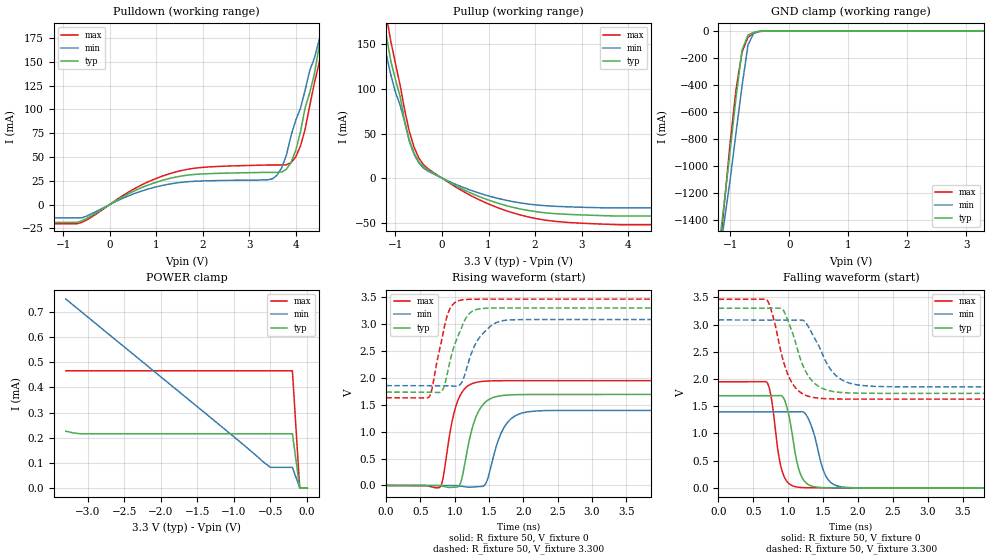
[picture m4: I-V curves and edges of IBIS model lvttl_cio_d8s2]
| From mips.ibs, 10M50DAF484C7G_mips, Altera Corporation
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|MODEL lvttl_cio_d8s2
[Model]   lvttl_cio_d8s2
Model_type   I/O
Polarity   Non-Inverting
Enable Active-Low
Vinl   = 0.800
Vinh   = 1.700
Vmeas  = 1.650
Rref   = 10M
Cref   = 0pF
Vref   = 0.000
C_comp 4.5pF   4.5pF   4.5pF
[Model Spec]
Vinh   1.700   1.700   1.700
Vinl   0.800   0.800   0.800
[Temperature Range]   25   85   0
[Voltage Range]   3.300   3.085   3.465
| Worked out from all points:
|   slope of the pulldown table from 0 to 0.495 V, typ, clamps not added: 36.4 ohm
|   slope of the pullup table from 0 to 0.495 V, typ, clamps not added: 35.8 ohm
|   GND clamp passes 1 mA (typ) near -0.44 V on its own axis
|   rising waveform, R_fixture 50, V_fixture 0: 20-80 % time 200ps typ, 225ps min, 178ps max; typ from 0 V to 1.69 V
|   falling waveform, R_fixture 50, V_fixture 0: 20-80 % time 146ps typ, 178ps min, 126ps max; typ from 1.69 V to 0 V
|   rising waveform, R_fixture 50, V_fixture 3.300: 20-80 % time 229ps typ, 265ps min, 178ps max; typ from 1.74 V to 3.3 V
|   falling waveform, R_fixture 50, V_fixture 3.300: 20-80 % time 271ps typ, 314ps min, 232ps max; typ from 3.3 V to 1.74 V
[GND Clamp]
| voltage   I (typ)   I (min)   I (max)
-3.3V     -8.634A    -7.734A    -10.13A
-1.2V     -1.626A    -1.688A    -1.731A
-1.1V     -1.26A     -1.403A    -1.274A
-1V       -875.9mA   -1.092A    -816.4mA
-900mV    -483.9mA   -744.2mA   -425.4mA
-800mV    -141.1mA   -407.2mA   -157mA
-700mV    -32.06mA   -104.2mA   -47.74mA
-600mV    -10.6mA    -15.57mA   -17.79mA
-500mV    -2.181mA   -3.118mA   -5.472mA
-400mV    -180.7uA   -399.8uA   -1.032mA
3.3V      0A         0A         0A
[Pulldown]
| voltage   I (typ)   I (min)   I (max)
-3.3V     -18.72mA   -13.96mA   -20.14mA
-700mV    -18.72mA   -13.96mA   -20.14mA
1.3V      27.6mA     21.69mA    32.62mA
3.5V      33.8mA     27.12mA    41.58mA
3.8V      37.18mA    52.41mA    41.88mA
4V        57.05mA    88.93mA    50.29mA
4.1V      76.32mA    101.2mA    61.59mA
4.3V      117.8mA    141mA      104.1mA
4.5V      166.1mA    172.5mA    148.5mA
4.6V      180.2mA    193mA      176.1mA
4.7V      199.3mA    207mA      201mA
6.5V      579.5mA    528.5mA    628.9mA
[Power Clamp]
| voltage   I (typ)   I (min)   I (max)
-3.3V     225.6uA    752uA      466.2uA
-3.1V     215.6uA    704.3uA    466.2uA
-500mV    215.6uA    81.77uA    466.2uA
-200mV    215.6uA    81.77uA    466.2uA
-100mV    0A         0A         0A
0V        0A         0A         0A
[Pullup]
| voltage   I (typ)   I (min)   I (max)
-3.3V     631mA      544.5mA    724.1mA
-1.4V     200mA      174.4mA    230.5mA
-1.2V     161.4mA    139.5mA    183.6mA
-1.1V     131.3mA    115.9mA    153.4mA
-900mV    91.65mA    81.78mA    104.2mA
-800mV    63.42mA    62.2mA     75.79mA
-600mV    28.16mA    26.44mA    34.63mA
-300mV    9.16mA     7.846mA    10.42mA
500mV     -13.95mA   -11.38mA   -16.3mA
1.4V      -31.19mA   -25.18mA   -37.04mA
2.4V      -39.84mA   -31.62mA   -48.44mA
6.5V      -42.64mA   -33.44mA   -52.46mA
[Ramp]
dV/dt_r   1.015e+00/2.002e-10 8.378e-01/2.245e-10 1.170e+00/1.780e-10
dV/dt_f   9.382e-01/2.706e-10 7.373e-01/3.138e-10 1.101e+00/2.324e-10
R_load = 50ohms
[Rising Waveform]
R_fixture   = 50
V_fixture   = 0
V_fixture_min = 0
V_fixture_max = 0
| time   V (typ)   V (min)   V (max)
0s        167.1nV    1.89uV     321.1nV
791.1ps   -6.067mV   48.74uV    -19.91mV
832.4ps   -18.01mV   95.29uV    158mV
963.1ps   -35.42mV   619.1uV    1.206V
1.073ns   13.07mV    -8.68mV    1.662V
1.314ns   1.29V      -23.63mV   1.918V
1.459ns   1.563V     53.43mV    1.941V
1.734ns   1.678V     1.11V      1.949V
2.029ns   1.691V     1.361V     1.949V
6.873ns   1.692V     1.396V     1.949V
[Falling Waveform]
R_fixture   = 50
V_fixture   = 0
V_fixture_min = 0
V_fixture_max = 0
| time   V (typ)   V (min)   V (max)
0s        1.692V     1.396V     1.949V
697.1ps   1.692V     1.396V     1.933V
758.6ps   1.692V     1.396V     1.641V
902.1ps   1.692V     1.396V     349.8mV
997.7ps   1.392V     1.396V     92.19mV
1.1ns     625.6mV    1.397V     21.88mV
1.264ns   80.3mV     1.325V     2.229mV
1.524ns   2.95mV     252.1mV    57.44uV
1.743ns   181.9uV    22.05mV    3.059uV
6.827ns   -145.7nV   2.087uV    114.6nV
[Rising Waveform]
R_fixture   = 50
V_fixture   = 3.300
V_fixture_min   = 3.085
V_fixture_max   = 3.465
| time   V (typ)   V (min)   V (max)
0s        1.736V     1.856V     1.63V
626ps     1.735V     1.856V     1.647V
667.3ps   1.734V     1.856V     1.791V
811.8ps   1.755V     1.855V     2.717V
894.3ps   2.1V       1.854V     3.176V
1.087ns   2.898V     1.888V     3.446V
1.197ns   3.174V     2.283V     3.461V
1.341ns   3.28V      2.717V     3.464V
1.706ns   3.3V       3.066V     3.465V
6.873ns   3.3V       3.085V     3.465V
[Falling Waveform]
R_fixture   = 50
V_fixture   = 3.300
V_fixture_min   = 3.085
V_fixture_max   = 3.465
| time   V (typ)   V (min)   V (max)
0s        3.3V       3.085V     3.465V
697.1ps   3.3V       3.085V     3.45V
792.7ps   3.3V       3.085V     3.094V
908.9ps   3.292V     3.085V     2.425V
1.011ns   3.017V     3.085V     2.031V
1.223ns   2.207V     3.071V     1.716V
1.346ns   1.959V     2.822V     1.664V
1.647ns   1.769V     2.11V      1.633V
2.002ns   1.74V      1.889V     1.63V
6.827ns   1.736V     1.856V     1.63V
